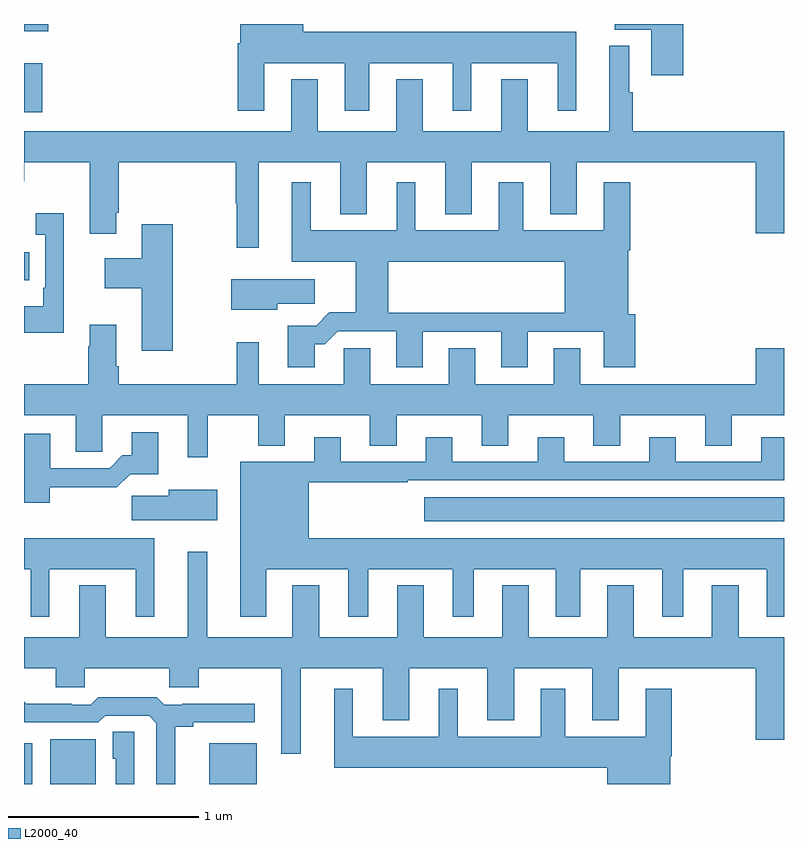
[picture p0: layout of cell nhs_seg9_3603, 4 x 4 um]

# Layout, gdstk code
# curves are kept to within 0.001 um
import gdstk
lib = gdstk.Library(unit=1e-6, precision=1e-09)
def R(c, l, rs):  # rectangles x0, y0, x1, y1
    for r in rs: c.add(gdstk.rectangle(r[:2], r[2:], *l))
def P(c, l, *ps):  # polygons
    for p in ps: c.add(gdstk.Polygon(p, *l))
L2000_40 = (2000, 40)

nhs_seg9_3603 = lib.new_cell('nhs_seg9_3603')
R(nhs_seg9_3603, L2000_40, [(317,1174.5,317.044,1174.714), (317.138,1174.5,317.377,1174.735), (317.975,1174.5,318.226,1174.714), (319.107,1175.882,321,1176.01), (317,1177.151,317.027,1177.299), (317,1178.036,317.095,1178.293), (317,1178.462,317.128,1178.5)])
P(nhs_seg9_3603, L2000_40, [(318.265,1178.294),(318.689,1178.294),(318.689,1178.043),(318.817,1178.043),(318.817,1178.294),(319.256,1178.294),(319.256,1178.043),(319.354,1178.043),(319.354,1178.294),(319.808,1178.294),(319.808,1178.043),(319.906,1178.043),(319.906,1178.458),(318.469,1178.458),(318.469,1178.5),(318.137,1178.5),(318.137,1178.398),(318.125,1178.398),(318.125,1178.043),(318.265,1178.043)],
  [(320.471,1178.5),(320.108,1178.5),(320.108,1178.471),(320.3,1178.471),(320.3,1178.229),(320.471,1178.229)],
  [(318.235,1177.772),(318.665,1177.772),(318.665,1177.499),(318.805,1177.499),(318.805,1177.772),(319.217,1177.772),(319.217,1177.499),(319.357,1177.499),(319.357,1177.772),(319.769,1177.772),(319.769,1177.499),(319.909,1177.499),(319.909,1177.772),(320.852,1177.772),(320.852,1177.398),(321,1177.398),(321,1177.936),(320.203,1177.936),(320.203,1178.141),(320.185,1178.141),(320.185,1178.386),(320.081,1178.386),(320.081,1177.936),(319.651,1177.936),(319.651,1178.209),(319.511,1178.209),(319.511,1177.936),(319.099,1177.936),(319.099,1178.209),(318.959,1178.209),(318.959,1177.936),(318.547,1177.936),(318.547,1178.209),(318.407,1178.209),(318.407,1177.936),(317,1177.936),(317,1177.673),(317.001,1177.673),(317.001,1177.772),(317.345,1177.772),(317.345,1177.395),(317.485,1177.395),(317.485,1177.507),(317.498,1177.507),(317.498,1177.772),(318.114,1177.772),(318.114,1177.556),(318.121,1177.556),(318.121,1177.323),(318.235,1177.323)],
  [(318.389,1176.913),(318.389,1176.693),(318.529,1176.693),(318.529,1176.815),(318.584,1176.815),(318.651,1176.882),(318.959,1176.882),(318.959,1176.693),(319.099,1176.693),(319.099,1176.879),(319.511,1176.879),(319.511,1176.693),(319.651,1176.693),(319.651,1176.879),(320.051,1176.879),(320.051,1176.693),(320.216,1176.693),(320.216,1176.972),(320.179,1176.972),(320.179,1177.31),(320.192,1177.31),(320.192,1177.666),(320.051,1177.666),(320.051,1177.414),(319.627,1177.414),(319.627,1177.666),(319.499,1177.666),(319.499,1177.414),(319.06,1177.414),(319.06,1177.666),(318.962,1177.666),(318.962,1177.414),(318.508,1177.414),(318.508,1177.666),(318.41,1177.666),(318.41,1177.25),(318.746,1177.25),(318.746,1176.983),(318.608,1176.983),(318.605,1176.98),(318.917,1176.98),(318.917,1177.25),(319.847,1177.25),(319.847,1176.98),(318.605,1176.98),(318.538,1176.913)],
  [(317.21,1177.504),(317.061,1177.504),(317.061,1177.391),(317.112,1177.391),(317.112,1177.111),(317.1,1177.111),(317.1,1177.015),(317,1177.015),(317,1176.875),(317.21,1176.875)],
  [(317.784,1177.447),(317.621,1177.447),(317.621,1177.267),(317.424,1177.267),(317.424,1177.109),(317.621,1177.109),(317.621,1176.78),(317.784,1176.78)],
  [(318.334,1177.027),(318.529,1177.027),(318.529,1177.156),(318.09,1177.156),(318.09,1176.995),(318.334,1176.995)],
  [(317.968,1176.44),(318.233,1176.44),(318.233,1176.281),(318.373,1176.281),(318.373,1176.44),(318.821,1176.44),(318.821,1176.28),(318.961,1176.28),(318.961,1176.44),(319.409,1176.44),(319.409,1176.28),(319.549,1176.28),(319.549,1176.44),(319.997,1176.44),(319.997,1176.28),(320.137,1176.28),(320.137,1176.44),(320.585,1176.44),(320.585,1176.28),(320.725,1176.28),(320.725,1176.44),(321,1176.44),(321,1176.793),(320.852,1176.793),(320.852,1176.604),(319.927,1176.604),(319.927,1176.794),(319.787,1176.794),(319.787,1176.604),(319.375,1176.604),(319.375,1176.794),(319.235,1176.794),(319.235,1176.604),(318.823,1176.604),(318.823,1176.794),(318.684,1176.794),(318.684,1176.604),(318.235,1176.604),(318.235,1176.826),(318.121,1176.826),(318.121,1176.604),(317.498,1176.604),(317.498,1176.7),(317.485,1176.7),(317.485,1176.916),(317.345,1176.916),(317.345,1176.803),(317.338,1176.803),(317.338,1176.604),(317,1176.604),(317,1176.44),(317.273,1176.44),(317.273,1176.25),(317.412,1176.25),(317.412,1176.44),(317.861,1176.44),(317.861,1176.219),(317.968,1176.219)],
  [(317.136,1176.062),(317.489,1176.062),(317.558,1176.131),(317.707,1176.131),(317.707,1176.352),(317.567,1176.352),(317.567,1176.229),(317.518,1176.229),(317.451,1176.162),(317.137,1176.162),(317.137,1176.343),(317,1176.343),(317,1175.981),(317.136,1175.981)],
  [(318.274,1175.63),(318.707,1175.63),(318.707,1175.379),(318.811,1175.379),(318.811,1175.63),(319.256,1175.63),(319.256,1175.379),(319.366,1175.379),(319.366,1175.63),(319.799,1175.63),(319.799,1175.379),(319.927,1175.379),(319.927,1175.63),(320.36,1175.63),(320.36,1175.379),(320.47,1175.379),(320.47,1175.63),(320.909,1175.63),(320.909,1175.379),(321,1175.379),(321,1175.794),(318.499,1175.794),(318.499,1176.087),(319.019,1176.087),(319.019,1176.099),(321,1176.099),(321,1176.325),(320.879,1176.325),(320.879,1176.195),(320.431,1176.195),(320.431,1176.325),(320.291,1176.325),(320.291,1176.195),(319.843,1176.195),(319.843,1176.325),(319.703,1176.325),(319.703,1176.195),(319.255,1176.195),(319.255,1176.325),(319.115,1176.325),(319.115,1176.195),(318.667,1176.195),(318.667,1176.325),(318.527,1176.325),(318.527,1176.196),(318.137,1176.196),(318.137,1175.379),(318.274,1175.379)],
  [(318.016,1176.049),(317.762,1176.049),(317.762,1176.017),(317.568,1176.017),(317.568,1175.888),(318.016,1175.888)],
  [(317.134,1175.63),(317.588,1175.63),(317.588,1175.379),(317.686,1175.379),(317.686,1175.794),(317,1175.794),(317,1175.63),(317.036,1175.63),(317.036,1175.379),(317.134,1175.379)],
  [(317,1175.108),(317.168,1175.108),(317.168,1175.01),(317.319,1175.01),(317.319,1175.108),(317.764,1175.108),(317.764,1175.01),(317.919,1175.01),(317.919,1175.108),(318.353,1175.108),(318.353,1174.659),(318.457,1174.659),(318.457,1175.108),(318.887,1175.108),(318.887,1174.835),(319.027,1174.835),(319.027,1175.108),(319.439,1175.108),(319.439,1174.835),(319.579,1174.835),(319.579,1175.108),(319.991,1175.108),(319.991,1174.835),(320.131,1174.835),(320.131,1175.108),(320.852,1175.108),(320.852,1174.734),(321,1174.734),(321,1175.272),(320.761,1175.272),(320.761,1175.545),(320.621,1175.545),(320.621,1175.272),(320.209,1175.272),(320.209,1175.545),(320.069,1175.545),(320.069,1175.272),(319.657,1175.272),(319.657,1175.545),(319.517,1175.545),(319.517,1175.272),(319.105,1175.272),(319.105,1175.545),(318.965,1175.545),(318.965,1175.272),(318.553,1175.272),(318.553,1175.545),(318.413,1175.545),(318.413,1175.272),(317.965,1175.272),(317.965,1175.722),(317.861,1175.722),(317.861,1175.272),(317.431,1175.272),(317.431,1175.545),(317.291,1175.545),(317.291,1175.272),(317,1175.272)],
  [(320.401,1174.646),(320.409,1174.646),(320.409,1175.002),(320.273,1175.002),(320.273,1174.75),(319.849,1174.75),(319.849,1175.002),(319.721,1175.002),(319.721,1174.75),(319.282,1174.75),(319.282,1175.002),(319.184,1175.002),(319.184,1174.75),(318.73,1174.75),(318.73,1175.002),(318.632,1175.002),(318.632,1174.586),(320.069,1174.586),(320.069,1174.5),(320.401,1174.5)],
  [(317.795,1174.802),(317.89,1174.802),(317.89,1174.824),(318.214,1174.824),(318.214,1174.922),(317.833,1174.922),(317.833,1174.917),(317.739,1174.917),(317.699,1174.957),(317.392,1174.957),(317.352,1174.917),(317.252,1174.917),(317.252,1174.922),(317.012,1174.922),(317,1174.934),(317,1174.824),(317.391,1174.824),(317.427,1174.86),(317.658,1174.86),(317.697,1174.821),(317.697,1174.5),(317.795,1174.5)],
  [(317.58,1174.775),(317.468,1174.775),(317.468,1174.632),(317.484,1174.632),(317.484,1174.5),(317.58,1174.5)])

lib.write_gds('nhs_seg9_3603.gds')
